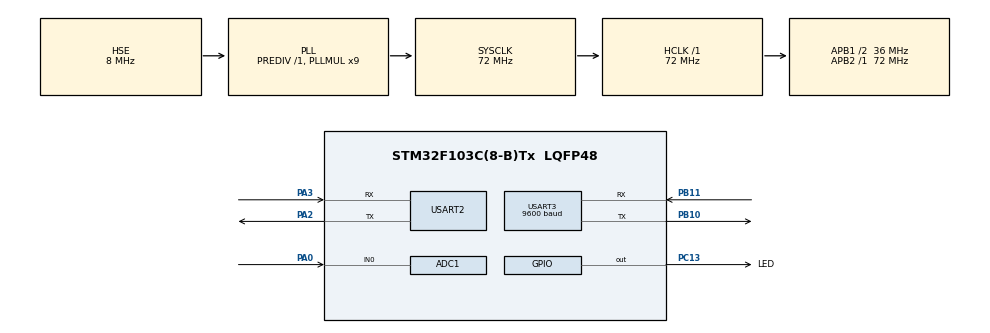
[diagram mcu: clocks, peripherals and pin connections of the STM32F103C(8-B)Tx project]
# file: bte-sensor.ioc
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ADC1.Channel-0\#ChannelRegularConversion=ADC_CHANNEL_0
ADC1.DataAlign=ADC_DATAALIGN_LEFT
ADC1.NbrOfConversionFlag=1
ADC1.Rank-0\#ChannelRegularConversion=1
ADC1.SamplingTime-0\#ChannelRegularConversion=ADC_SAMPLETIME_1CYCLE_5
ADC1.master=1
Dma.Request0=USART2_RX
Dma.Request1=USART3_RX
Dma.USART2_RX.0.Direction=DMA_PERIPH_TO_MEMORY
Dma.USART2_RX.0.Instance=DMA1_Channel6
Dma.USART2_RX.0.MemDataAlignment=DMA_MDATAALIGN_BYTE
Dma.USART2_RX.0.MemInc=DMA_MINC_ENABLE
Dma.USART2_RX.0.Mode=DMA_NORMAL
Dma.USART2_RX.0.PeriphDataAlignment=DMA_PDATAALIGN_BYTE
Dma.USART2_RX.0.PeriphInc=DMA_PINC_DISABLE
Dma.USART2_RX.0.Priority=DMA_PRIORITY_LOW
Dma.USART3_RX.1.Direction=DMA_PERIPH_TO_MEMORY
Dma.USART3_RX.1.Instance=DMA1_Channel3
Dma.USART3_RX.1.MemDataAlignment=DMA_MDATAALIGN_BYTE
Dma.USART3_RX.1.MemInc=DMA_MINC_ENABLE
Dma.USART3_RX.1.Mode=DMA_NORMAL
Dma.USART3_RX.1.PeriphDataAlignment=DMA_PDATAALIGN_BYTE
Dma.USART3_RX.1.PeriphInc=DMA_PINC_DISABLE
Dma.USART3_RX.1.Priority=DMA_PRIORITY_LOW
Mcu.Family=STM32F1
Mcu.Name=STM32F103C(8-B)Tx
Mcu.Package=LQFP48
NVIC.DMA1_Channel3_IRQn=true\:0\:0\:false\:false\:true\:false\:true\:true
NVIC.DMA1_Channel6_IRQn=true\:0\:0\:false\:false\:true\:false\:true\:true
NVIC.PriorityGroup=NVIC_PRIORITYGROUP_4
NVIC.USART2_IRQn=true\:0\:0\:false\:false\:true\:true\:true\:true
NVIC.USART3_IRQn=true\:0\:0\:false\:false\:true\:true\:true\:true
PA0-WKUP.Signal=ADCx_IN0
PA13.Mode=Serial_Wire
PA13.Signal=SYS_JTMS-SWDIO
PA14.Mode=Serial_Wire
PA14.Signal=SYS_JTCK-SWCLK
PA2.Mode=Asynchronous
PA2.Signal=USART2_TX
PA3.Mode=Asynchronous
PA3.Signal=USART2_RX
PB10.Mode=Asynchronous
PB10.Signal=USART3_TX
PB11.Mode=Asynchronous
PB11.Signal=USART3_RX
PC13-TAMPER-RTC.GPIO_Label=LED
PC13-TAMPER-RTC.Signal=GPIO_Output
PD0-OSC_IN.Mode=HSE-External-Oscillator
PD0-OSC_IN.Signal=RCC_OSC_IN
PD1-OSC_OUT.Mode=HSE-External-Oscillator
PD1-OSC_OUT.Signal=RCC_OSC_OUT
ProjectManager.HeapSize=0x200
ProjectManager.StackSize=0x400
ProjectManager.TargetToolchain=Makefile
RCC.ADCPresc=RCC_ADCPCLK2_DIV8
RCC.AHBFreq_Value=72000000
RCC.APB1CLKDivider=RCC_HCLK_DIV2
RCC.APB1Freq_Value=36000000
RCC.APB1TimFreq_Value=72000000
RCC.APB2Freq_Value=72000000
RCC.APB2TimFreq_Value=72000000
RCC.HCLKFreq_Value=72000000
RCC.PLLMUL=RCC_PLL_MUL9
RCC.PLLSourceVirtual=RCC_PLLSOURCE_HSE
RCC.SYSCLKFreq_VALUE=72000000
RCC.SYSCLKSource=RCC_SYSCLKSOURCE_PLLCLK
RCC.USBFreq_Value=72000000
SH.ADCx_IN0.0=ADC1_IN0,IN0
USART2.VirtualMode=VM_ASYNC
USART3.BaudRate=9600
USART3.VirtualMode=VM_ASYNC
board=custom

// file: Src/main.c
/* USER CODE BEGIN Header */
/**
 ******************************************************************************
 * @file           : main.c
 * @brief          : Main program body
 ******************************************************************************
 * @attention
 *
 * Copyright (c) 2024 STMicroelectronics.
 * All rights reserved.
 *
 * This software is licensed under terms that can be found in the LICENSE file
 * in the root directory of this software component.
 * If no LICENSE file comes with this software, it is provided AS-IS.
 *
 ******************************************************************************
 */
/* USER CODE END Header */
#include "main.h"
#include "adc.h"
#include "dma.h"
#include "usart.h"
#include "gpio.h"

/* USER CODE BEGIN Includes */
#include "lcu.h"
#include "modbus.h"
#include <stdarg.h>
#include <stdbool.h>
#include <stdio.h>
/* USER CODE END Includes */

/* USER CODE BEGIN PV */
extern DMA_HandleTypeDef hdma_usart2_rx;
extern DMA_HandleTypeDef hdma_usart3_rx;

volatile uint8_t process_it = false;
uint16_t adc = 0xFFFF;
char tmp_str[256] = {0};
// AI[0] - current light level
// AO[1] - light threshold
// DO[0].0 - mode 1-automatic/0-manual
// DO[1].0 - light 1-on/0-off
MODBUS_registers LCU_registers;
UART_message rx1_buf;
UART_message rx2_buf;
UART_message tx1_buf;
UART_message *tx_buffer = &tx1_buf;
UART_message *rx_buffer = &rx1_buf;
UART_message *parse_buffer = &rx2_buf;
MODBUS_message rx_msg;
MODBUS_message tx_msg;
/* USER CODE END PV */

void SystemClock_Config(void);
/* USER CODE BEGIN PFP */
uint8_t process_buffer(void);
/* USER CODE END PFP */

int main(void)
{

    /* MCU Configuration--------------------------------------------------------*/

    /* Reset of all peripherals, Initializes the Flash interface and the Systick. */
    HAL_Init();

    /* Configure the system clock */
    SystemClock_Config();

    /* Initialize all configured peripherals */
    MX_GPIO_Init();
    MX_DMA_Init();
    MX_USART3_UART_Init();
    MX_USART2_UART_Init();
    MX_ADC1_Init();
    /* USER CODE BEGIN 2 */
    HAL_ADCEx_Calibration_Start(&hadc1);

    HAL_UARTEx_ReceiveToIdle_DMA(&huart3, rx_buffer->msg_data, BUFFER_SIZE);
    __HAL_DMA_DISABLE_IT(&hdma_usart3_rx, DMA_IT_HT);

    /* TEST BLOCK START */
    //	  READ_DO = 1,
    //		READ_DI,
    //		READ_AO,
    //		READ_AI,
    // uint8_t nData[32] = {0x01, WRITE_AO_MULTI, 0x03, 0x02, 0x00, 0x02, 0x4, 0xaa, 0xbb, 0xcc, 0xdd};
    // uint8_t wLength = 11;
    // UART_message test_uart_rx_msg = {0};
    // UART_message test_uart_tx_msg = {0};
    // MODBUS_message test_modbus_msg = {0};
    // MODBUS_registers test_registers = {0};
    // test_registers.MB_address = 0x01;
    // test_registers.DO_start_address = 0x0100;
    // test_registers.DI_start_address = 0x0200;
    // test_registers.AO_start_address = 0x0300;
    // test_registers.AI_start_address = 0x0400;
    // test_registers.DO_count = 8;
    // test_registers.DI_count = 8;
    // test_registers.AO_count = 8;
    // test_registers.AI_count = 8;
    // for (uint8_t i = 0; i < 8; i++)
    // {
    //     test_registers.DO[i] = i;
    //     test_registers.DI[i] = i + 16;
    //     test_registers.AO[i] = i + 32;
    //     test_registers.AI[i] = i + 64;
    // }
    // uint16_t myCRC = MODBUS_CRC16(nData, wLength);
    // nData[wLength++] = myCRC & 0xFF;
    // nData[wLength++] = myCRC >> 8;
    // test_uart_rx_msg.msg_length = wLength;
    // for (uint8_t i = 0; i < 32; i++)
    // {
    //     test_uart_rx_msg.msg_data[i] = nData[i];
    // }
    // uint8_t status = msg_validate(&test_uart_rx_msg);
    // msg_parse(&test_uart_rx_msg, &test_modbus_msg);
    // status = response_prepare(&test_modbus_msg, &test_registers, &test_uart_tx_msg);
    // __NOP();
    /* TEST BLOCK END */

    LCU_registers.MB_address = 0x01;
    LCU_registers.DO_start_address = 0x0100;
    LCU_registers.DI_start_address = 0x0200;
    LCU_registers.AO_start_address = 0x0300;
    LCU_registers.AI_start_address = 0x0400;
    LCU_registers.DO_count = 8;
    LCU_registers.DI_count = 8;
    LCU_registers.AO_count = 8;
    LCU_registers.AI_count = 8;
    for (uint8_t i = 0; i < 8; i++)
    {
        LCU_registers.DO[i] = i;
        LCU_registers.DI[i] = i + 16;
        LCU_registers.AO[i] = i + 32;
        LCU_registers.AI[i] = i + 64;
    }
    LCU_update(&LCU_registers);
    /* USER CODE END 2 */

    /* Infinite loop */
    while (1)
    {

        /* USER CODE BEGIN 3 */
        if (process_it)
        {
            process_it = false;
#ifdef DEBUG
            hex_buf_to_string(parse_buffer->msg_data, parse_buffer->msg_length, tmp_str);
            UART_Printf("--==--\nMSG recived:    %s\n", tmp_str);
#endif
            uint8_t status = process_buffer();
            if (status != MB_OK)
            {
#ifdef DEBUG
                UART_Printf("Error in recived msg\n");
#endif
                __NOP();
            }
            else
            {
#ifdef DEBUG
                hex_buf_to_string(tx_buffer->msg_data, tx_buffer->msg_length, tmp_str);
                UART_Printf("MSG transmited: %s\n", tmp_str);
                UART_Printf("msg length=%hu\n--==--\n", tx_buffer->msg_length);
#endif
                HAL_UART_Transmit_IT(&huart3, tx_buffer->msg_data, tx_buffer->msg_length);
            }
        }
        light_level_update(&LCU_registers);
    }
    /* USER CODE END 3 */
}

void SystemClock_Config(void)
{
    RCC_OscInitTypeDef RCC_OscInitStruct = {0};
    RCC_ClkInitTypeDef RCC_ClkInitStruct = {0};
    RCC_PeriphCLKInitTypeDef PeriphClkInit = {0};

    /** Initializes the RCC Oscillators according to the specified parameters
     * in the RCC_OscInitTypeDef structure.
     */
    RCC_OscInitStruct.OscillatorType = RCC_OSCILLATORTYPE_HSE;
    RCC_OscInitStruct.HSEState = RCC_HSE_ON;
    RCC_OscInitStruct.HSEPredivValue = RCC_HSE_PREDIV_DIV1;
    RCC_OscInitStruct.HSIState = RCC_HSI_ON;
    RCC_OscInitStruct.PLL.PLLState = RCC_PLL_ON;
    RCC_OscInitStruct.PLL.PLLSource = RCC_PLLSOURCE_HSE;
    RCC_OscInitStruct.PLL.PLLMUL = RCC_PLL_MUL9;
    if (HAL_RCC_OscConfig(&RCC_OscInitStruct) != HAL_OK)
    {
        Error_Handler();
    }

    /** Initializes the CPU, AHB and APB buses clocks
     */
    RCC_ClkInitStruct.ClockType = RCC_CLOCKTYPE_HCLK | RCC_CLOCKTYPE_SYSCLK | RCC_CLOCKTYPE_PCLK1 | RCC_CLOCKTYPE_PCLK2;
    RCC_ClkInitStruct.SYSCLKSource = RCC_SYSCLKSOURCE_PLLCLK;
    RCC_ClkInitStruct.AHBCLKDivider = RCC_SYSCLK_DIV1;
    RCC_ClkInitStruct.APB1CLKDivider = RCC_HCLK_DIV2;
    RCC_ClkInitStruct.APB2CLKDivider = RCC_HCLK_DIV1;

    if (HAL_RCC_ClockConfig(&RCC_ClkInitStruct, FLASH_LATENCY_2) != HAL_OK)
    {
        Error_Handler();
    }
    PeriphClkInit.PeriphClockSelection = RCC_PERIPHCLK_ADC;
    PeriphClkInit.AdcClockSelection = RCC_ADCPCLK2_DIV8;
    if (HAL_RCCEx_PeriphCLKConfig(&PeriphClkInit) != HAL_OK)
    {
        Error_Handler();
    }
}

/* USER CODE BEGIN 4 */
uint16_t get_light_level()
{
    HAL_ADC_Start(&hadc1);
    HAL_ADC_PollForConversion(&hadc1, 100);
    uint16_t value = HAL_ADC_GetValue(&hadc1);
    HAL_ADC_Stop(&hadc1);
#ifdef DEBUG
    // UART_Printf("ADC: %hu [ 0x%04X ]\n", adc / 655, adc);
    UART_Printf("RAW ADC: 0x%04X\n", value);
#endif // DEBUG
    return value;
}

uint8_t process_buffer()
{
    modbus_status_t status;

    // #ifdef DEBUG
    //     UART_Printf("msg->length: %d\n", parse_buffer->msg_length);
    // #endif // DEBUG

    if (msg_validate(parse_buffer) == MB_ERR)
    {
#ifdef DEBUG
        UART_Printf("msg invalid CRC\n");
#endif // DEBUG
        return MB_ERR;
    }
    // #ifdef DEBUG
    //     UART_Printf("msg valid CRC\n");
    // #endif // DEBUG
    msg_parse(parse_buffer, &rx_msg);
    status = response_prepare(&rx_msg, &LCU_registers, tx_buffer);
    if (status == MB_ERR)
    {
        return MB_ERR;
    }
    LCU_update(&LCU_registers);
    return MB_OK;
}

void hex_buf_to_string(uint8_t *buffer, uint8_t size, char *result)
{
    sprintf(result, "[ ");
    for (int i = 0; i < size; i++)
    {
        sprintf(result + i * 5 + 2, "0x%02X ", buffer[i]);
    }
    strcat(result, "]");
}

void UART_Printf(const char *fmt, ...)
{
    char buff[256];
    va_list args;
    va_start(args, fmt);
    vsnprintf(buff, sizeof(buff), fmt, args);
    HAL_UART_Transmit(&huart2, (uint8_t *)buff, strlen(buff), HAL_MAX_DELAY);
    va_end(args);
}

void HAL_UARTEx_RxEventCallback(UART_HandleTypeDef *huart, uint16_t Size)
{
    if (huart->Instance == USART3)
    {
        rx_buffer->msg_length = Size;
        rx_buffer->msg_data[Size] = '\0';
        UART_message *tmp = rx_buffer;
        rx_buffer = parse_buffer;
        parse_buffer = tmp;
        process_it = true;
        HAL_UARTEx_ReceiveToIdle_DMA(&huart3, rx_buffer->msg_data, BUFFER_SIZE);
        __HAL_DMA_DISABLE_IT(&hdma_usart3_rx, DMA_IT_HT);
    }
}

void _close(void)
{
}
void _lseek(void)
{
}
void _read(void)
{
}
void _write(void)
{
}
/* USER CODE END 4 */

void Error_Handler(void)
{
    __disable_irq();
    while (1)
    {
    }
}
